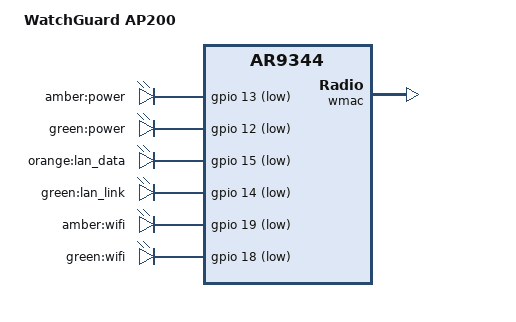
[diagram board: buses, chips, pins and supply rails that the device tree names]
// SPDX-License-Identifier: GPL-2.0-or-later OR MIT

#include "ar9344_senao_ap-dual.dtsi"

/ {
	compatible = "watchguard,ap200", "qca,ar9344";
	model = "WatchGuard AP200";

	aliases {
		led-boot = &led_power_amber;
		led-failsafe = &led_power_amber;
		led-running = &led_power_green;
		led-upgrade = &led_power_amber;
	};

	leds {
		compatible = "gpio-leds";

		led_power_amber: power_amber {
			label = "amber:power";
			gpios = <&gpio 13 GPIO_ACTIVE_LOW>;
		};

		led_power_green: power_green {
			label = "green:power";
			gpios = <&gpio 12 GPIO_ACTIVE_LOW>;
			default-state = "on";
		};

		lan_data {
			label = "orange:lan_data";
			gpios = <&gpio 15 GPIO_ACTIVE_LOW>;
		};

		lan_link {
			label = "green:lan_link";
			gpios = <&gpio 14 GPIO_ACTIVE_LOW>;
		};

		wifi_amber {
			label = "amber:wifi";
			gpios = <&gpio 19 GPIO_ACTIVE_LOW>;
			linux,default-trigger = "phy1tpt";
		};

		wifi_green {
			label = "green:wifi";
			gpios = <&gpio 18 GPIO_ACTIVE_LOW>;
			linux,default-trigger = "phy0tpt";
		};
	};
};

&ref {
	clock-frequency = <25000000>;
};

&eth0 {
	nvmem-cells = <&macaddr_art_0 (-2)>;
	nvmem-cell-names = "mac-address";
};

&pcie {
	wifi@0,0 {
		nvmem-cells = <&macaddr_art_0 (-1)>, <&calibration_art_5000>;
		nvmem-cell-names = "mac-address", "calibration";
	};
};

&wmac {
	nvmem-cells = <&macaddr_art_0 (-2)>, <&calibration_art_1000>;
	nvmem-cell-names = "mac-address", "calibration";
};

&art {
	nvmem-layout {
		compatible = "fixed-layout";
		#address-cells = <1>;
		#size-cells = <1>;

		macaddr_art_0: macaddr@0 {
			compatible = "mac-base";
			reg = <0x0 0x6>;
			#nvmem-cell-cells = <1>;
		};

		calibration_art_1000: calibration@1000 {
			reg = <0x1000 0x440>;
		};

		calibration_art_5000: calibration@5000 {
			reg = <0x5000 0x440>;
		};
	};
};
